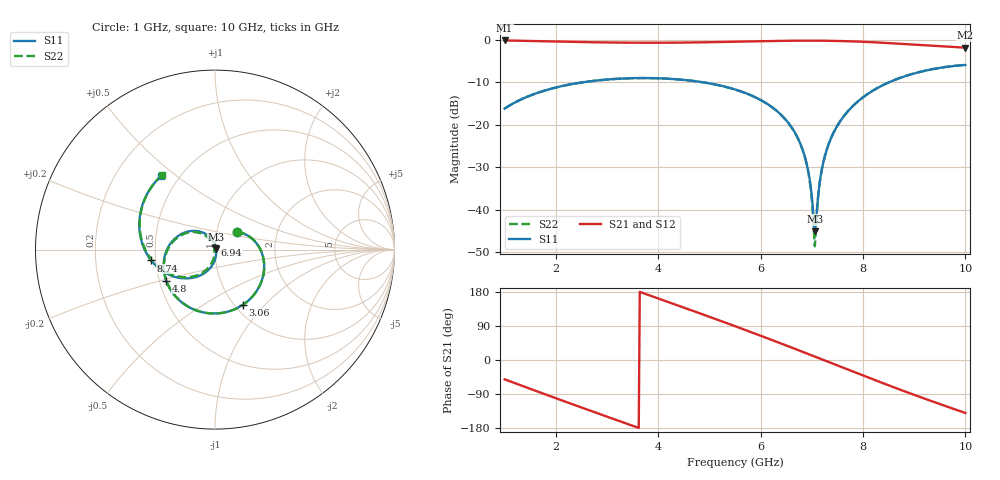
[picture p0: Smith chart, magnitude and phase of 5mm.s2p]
! Touchstone file exported from HFSS 2018.2.0
!  File:  C:/Users/10024/OneDrive - The University of Nottingham Ningbo China/Year 4/Final Year Project/HFSS project/Passive_Resonator_Antenna.aedt
!  Generated:  12:14:50 下午  3月 12, 2022
!  Design:  SMA_Thru
!  Project:  Passive_Resonator_Antenna
!  Setup:  Setup1
!  Solution:  Sweep
! Variables:
!  MW = 1mm
!  ThruL = 5mm
!  g = 0.2mm
!  subH = 0.8mm
!  subX = 20mm
!  subY = 15mm
!  tapW = 1mm
# GHZ S MA R 50.000000
! Modal data exported
! Port[1] = SMA_CONNECTOR1_1:1
! Port[2] = SMA_CONNECTOR2_1:1
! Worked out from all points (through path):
!   451 points, 1 GHz to 10 GHz, reference 50 ohm
!   highest |S21| = -0.11 dB at 1 GHz (marker M1); lowest = -1.8 dB at 10 GHz (marker M2)
!   group delay of S21, straight-line fit = 139 ps
!   lowest |S11| = -45.1 dB at 7.06 GHz (marker M3), VSWR 1.01, Z = 50.5 + j0.123 ohm
!   |S11| at or under -10 dB: start of sweep to 2.506 GHz; 4.895 GHz to 8.501 GHz (3.606 GHz wide, 53.8 % of centre)
!   |S22| runs from -48.5 to -5.9 dB; largest |S21 - S12| = 2.2e-14
!   S11 on the Smith chart (normalised r, x): 1 GHz: 1.25, +0.25; 3.06 GHz: 1.09, -0.76; 4.8 GHz: 0.54, -0.21; 6.94 GHz: 1.00, +0.05; 8.74 GHz: 0.47, -0.07; 10 GHz: 0.40, +0.44
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1  0.1559 39.0  0.9869 -51.0  0.9869 -51.0  0.1559 39.0
! Gamma ! 0.0151858380091235 30.3716836111901 0.015185838009153 30.3716836111883
! Port Impedance50 0 50 0
1.74  0.2493 1.7  0.9664 -88.0  0.9664 -88.0  0.2493 1.9
2.5  0.3158 -35.9  0.9451 -125.3  0.9451 -125.3  0.3158 -35.4
3.06  0.3445 -63.2  0.9337 -152.4  0.9337 -152.4  0.3445 -62.5
3.54  0.3554 -86.4  0.9284 -175.5  0.9284 -175.5  0.3554 -85.7
4  0.354 -108.7  0.9278 162.4  0.9278 162.4  0.3539 -107.8
4.8  0.3226 -147.7  0.9369 123.8  0.9369 123.8  0.3224 -146.5
5.5  0.2617 177.3  0.9533 89.3  0.9533 89.3  0.2614 179.0
6  0.1968 151.6  0.9668 64.1  0.9668 64.1  0.1965 154.0
6.5  0.1135 124.6  0.9777 38.4  0.9777 38.4  0.1131 129.0
6.78  0.05945 107.3  0.981 23.8  0.981 23.8  0.05889 116.1
6.94  0.0267 92.2  0.9815 15.3  0.9815 15.3  0.02594 112.3
7  0.01448 78.4  0.9814 12.2  0.9814 12.2  0.01344 116.9
7.04  0.007332 49.6  0.9813 10.1  0.9813 10.1  0.005709 139.6
7.06  0.005573 12.6  0.9811 9.0  0.9811 9.0  0.003742 -172.2
7.22  0.0351 -81.7  0.9796 0.5  0.9796 0.5  0.03538 -97.0
7.44  0.08439 -98.8  0.9752 -11.2  0.9752 -11.2  0.08487 -105.2
7.86  0.1799 -123.3  0.9594 -33.4  0.9594 -33.4  0.1806 -126.4
8.5  0.316 -157.8  0.919 -66.8  0.919 -66.8  0.3168 -159.6
8.74  0.3606 -170.4  0.9006 -79.0  0.9006 -79.0  0.3615 -171.9
9.3  0.4459 161.1  0.8569 -106.7  0.8569 -106.7  0.4469 159.9
10  0.508 126.6  0.8119 -139.7  0.8119 -139.7  0.5092 125.5
